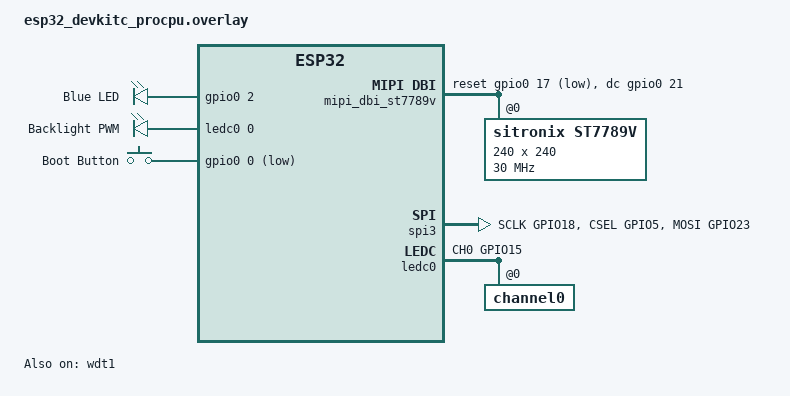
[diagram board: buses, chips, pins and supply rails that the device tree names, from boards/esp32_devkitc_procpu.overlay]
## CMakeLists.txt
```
# SPDX-License-Identifier: Apache-2.0

cmake_minimum_required(VERSION 3.20.0)

find_package(Zephyr REQUIRED HINTS $ENV{ZEPHYR_BASE})
project(wake_on_lan)

FILE(GLOB app_sources src/*.c)
FILE(GLOB font_sources src/fonts/*.c)

target_sources(app PRIVATE ${app_sources} ${font_sources})

zephyr_include_directories(inc)
zephyr_include_directories(src/fonts)
```

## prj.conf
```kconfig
# ── Kernel ──────────────────────────────────────────────────────────────────
CONFIG_MAIN_STACK_SIZE=6144
CONFIG_SYSTEM_WORKQUEUE_STACK_SIZE=4096

# ── GPIO / SPI ───────────────────────────────────────────────────────────────
CONFIG_GPIO=y
CONFIG_SPI=y

# ── Display (ST7789V via MIPI-DBI SPI wrapper) ───────────────────────────────
CONFIG_DISPLAY=y
CONFIG_DISPLAY_LOG_LEVEL_ERR=y

# ── LVGL ─────────────────────────────────────────────────────────────────────
CONFIG_LVGL=y
CONFIG_LV_COLOR_16_SWAP=y
#CONFIG_LV_COLOR_DEPTH_16=y
CONFIG_LV_Z_MEM_POOL_SIZE=24576

# Custom font C files in src/fonts/ (lv_font_wol_14 / lv_font_wol_24)
# cover ASCII 0x20-0x7E, U+2022 •, U+26A1 ⚡, braille U+280B..U+28A7.
#
# IMPORTANT: Zephyr LVGL requires a built-in font as LV_FONT_DEFAULT.
# Without it, lv_font_default__ = NULL → all labels show squares.
# We enable Montserrat 14 as the system default; our custom fonts
# are applied explicitly via lv_obj_set_style_text_font() per widget.
CONFIG_LV_FONT_MONTSERRAT_14=y
CONFIG_LV_FONT_MONTSERRAT_24=y
CONFIG_LV_FONT_DEFAULT_MONTSERRAT_14=y

# LVGL display buffer — 10% of screen (240×240×2 = 115200 B full frame).
# Keeping it small (≈11520 B) avoids dram0.noinit overflow.
# Core 1 calls lv_task_handler() at 40 FPS so partial refresh is fine.
CONFIG_LV_Z_VDB_SIZE=10
CONFIG_LV_Z_DOUBLE_VDB=n

# UTF-8 support — required for braille
CONFIG_LV_TXT_ENC_UTF8=y
CONFIG_COMPILER_OPT="-finput-charset=UTF-8"



# ── Logging ──────────────────────────────────────────────────────────────────
CONFIG_LOG=y
CONFIG_LOG_DEFAULT_LEVEL=3

# ── Networking (Wi-Fi) ───────────────────────────────────────────────────────
CONFIG_NETWORKING=y
CONFIG_NET_IPV4=y
CONFIG_NET_UDP=y
CONFIG_NET_SOCKETS=y
CONFIG_POSIX_API=y
CONFIG_WIFI=y
CONFIG_WIFI_ESP32=y
CONFIG_NET_DHCPV4=y
CONFIG_NET_MGMT=y
CONFIG_NET_MGMT_EVENT=y

# ── NVS Storage ──────────────────────────────────────────────────────────────
CONFIG_FLASH=y
CONFIG_FLASH_MAP=y
CONFIG_FLASH_PAGE_LAYOUT=y
CONFIG_NVS=y
CONFIG_MPU_ALLOW_FLASH_WRITE=y

# ── DNS / HTTP (captive portal) ──────────────────────────────────────────────
CONFIG_DNS_RESOLVER=y
CONFIG_NET_TCP=y
CONFIG_NET_HOSTNAME_ENABLE=y
CONFIG_NET_HOSTNAME="WOL_ESP"

# ── Heap / Memory ────────────────────────────────────────────────────────────
CONFIG_HEAP_MEM_POOL_SIZE=49152

# ── Reboot ───────────────────────────────────────────────────────────────────
CONFIG_REBOOT=y

# ── Watchdog ─────────────────────────────────────────────────────────────────
CONFIG_WATCHDOG=y

# ── Stack overflow detection ──────────────────────────────────────────────────
CONFIG_THREAD_STACK_INFO=y
CONFIG_THREAD_NAME=y
CONFIG_STACK_SENTINEL=y

CONFIG_PWM=y
```

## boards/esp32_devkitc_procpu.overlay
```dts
#include <zephyr/dt-bindings/i2c/i2c.h>
#include <zephyr/dt-bindings/input/input-event-codes.h>
#include <dt-bindings/pinctrl/esp32-pinctrl.h>

/ {
	aliases {
		sw0 = &user_button;
		led0 = &blue_led;
		bl-pwm = &bl_pwm_led;
	};

	chosen {
		zephyr,display = &st7789v;
		zephyr,flash-controller = &flash;
	};

	cpus {
		#address-cells = <1>;
		#size-cells = <0>;

		cpu0: cpu@0 {
			device_type = "cpu";
			compatible = "espressif,xtensa-lx6";
			reg = <0>;
			clock-frequency = <240000000>;
		};
	};

	clock: clock {
		compatible = "espressif,esp32-clock";
		status = "okay";
		#clock-cells = <1>;
		fast-clk-src = <1>;
		slow-clk-src = <0>;
	};

	leds {
		compatible = "gpio-leds";

		blue_led: led_0 {
			gpios = <&gpio0 2 GPIO_ACTIVE_HIGH>;
			label = "Blue LED";
		};
	};

	backlight_pwm {
		compatible = "pwm-leds";
		bl_pwm_led: bl_pwm_led {
			pwms = <&ledc0 0 5000 PWM_POLARITY_NORMAL>; // Canal 0, 5kHz (5000ns)
			label = "Backlight PWM";
		};
	};

	buttons {
		compatible = "gpio-keys";
		user_button: button_0 {
			gpios = <&gpio0 0 (GPIO_PULL_UP | GPIO_ACTIVE_LOW)>;
			label = "Boot Button";
		};
	};

	mipi_dbi_st7789v {
		compatible = "zephyr,mipi-dbi-spi";
		spi-dev = <&spi3>;
		dc-gpios = <&gpio0 21 GPIO_ACTIVE_HIGH>;
		reset-gpios = <&gpio0 17 GPIO_ACTIVE_LOW>;
		write-only;
		#address-cells = <1>;
		#size-cells = <0>;

		st7789v: st7789v@0 {
			compatible = "sitronix,st7789v";
			mipi-max-frequency = <30000000>;
			reg = <0>;
			width = <240>;
			height = <240>;
			x-offset = <0>;
			y-offset = <0>;

			vcom = <0x28>;
			gctrl = <0x35>;
			vrhs = <0x10>;
			vdvs = <0x20>;
			mdac = <0x08>;
			gamma = <0x01>;
			colmod = <0x55>;
			//inversion-off;
			lcm = <0x0C>;
			ready-time-ms = <10>;

			porch-param = [0c 0c 00 33 33];
			cmd2en-param = [5a 69 02 01];
			pwctrl1-param = [a4 a1];
			pvgam-param = [d0 00 02 07 0a 28 32 44 42 06 0e 12 14 17];
			nvgam-param = [d0 00 02 07 0a 28 31 54 47 0e 1c 17 1b 1e];
			ram-param = [00 e0];
			rgb-param = [cd 08 14];

			mipi-mode = "MIPI_DBI_MODE_SPI_4WIRE";
		};
	};
};

&gpio0 { status = "okay"; };
&gpio1 { status = "okay"; };
&wdt1  { status = "okay"; };

&spi3 {
	status = "okay";
	pinctrl-0 = <&spim3_default>;
	pinctrl-names = "default";
};

&ledc0 {
	status = "okay";
	#pwm-cells = <3>;
	pinctrl-0 = <&ledc0_default>;
	pinctrl-names = "default";
	#address-cells = <1>;
	#size-cells = <0>;

	channel0@0 {
		reg = <0x0>;
		timer = <0>;
	};
};

&pinctrl {
	spim3_default: spim3_default {
		group1 {
			pinmux = <SPIM3_SCLK_GPIO18>,
				 <SPIM3_CSEL_GPIO5>;
		};
		group2 {
			pinmux = <SPIM3_MOSI_GPIO23>;
			output-low;
		};
	};
	ledc0_default: ledc0_default {
		group1 {
			pinmux = <LEDC_CH0_GPIO15>;
			output-enable;
		};
	};
};

&flash0 {
	partitions {
		compatible = "fixed-partitions";
		#address-cells = <1>;
		#size-cells = <1>;

		nvs_storage: partition@3f0000 {
			label = "nvs_storage";
			reg = <0x3f0000 0x00010000>;
		};
	};
};
```

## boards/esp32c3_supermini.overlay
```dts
#include <zephyr/dt-bindings/i2c/i2c.h>
#include <zephyr/dt-bindings/input/input-event-codes.h>
#include <dt-bindings/pinctrl/esp32-pinctrl.h>
#include <zephyr/dt-bindings/pwm/pwm.h>

/ {
	aliases {
		sw0 = &user_button;
		led0 = &blue_led;
		bl-pwm = &bl_pwm_led;
	};

	chosen {
		zephyr,display = &st7789v;
		zephyr,flash-controller = &flash;
		zephyr,sram = &sram0;
		zephyr,flash = &flash0;
	};

	cpus {
		#address-cells = <1>;
		#size-cells = <0>;

		cpu0: cpu@0 {
			device_type = "cpu";
			compatible = "espressif,riscv";
			reg = <0>;
			clock-frequency = <160000000>;
		};
	};

	leds {
		compatible = "gpio-leds";
		blue_led: led_0 {
			gpios = <&gpio0 8 GPIO_ACTIVE_LOW>;
			label = "Blue LED";
		};
	};

	backlight_pwm {
		compatible = "pwm-leds";
		bl_pwm_led: bl_pwm_led {
			pwms = <&ledc0 2 PWM_HZ(5000) PWM_POLARITY_NORMAL>;
			label = "Backlight PWM";
		};
	};

	buttons {
		compatible = "gpio-keys";
		user_button: button_0 {
			gpios = <&gpio0 9 (GPIO_PULL_UP | GPIO_ACTIVE_LOW)>;
			label = "Boot Button";
		};
	};

	mipi_dbi_st7789v {
		compatible = "zephyr,mipi-dbi-spi";
		spi-dev = <&spi2>;
		dc-gpios = <&gpio0 7 GPIO_ACTIVE_HIGH>;
		reset-gpios = <&gpio0 10 GPIO_ACTIVE_LOW>;
		write-only;
		#address-cells = <1>;
		#size-cells = <0>;

		st7789v: st7789v@0 {
			compatible = "sitronix,st7789v";
			mipi-max-frequency = <35000000>;
			reg = <0>;
			width = <240>;
			height = <240>;
			x-offset = <0>;
			y-offset = <0>;
			vcom = <0x28>;
			gctrl = <0x35>;
			vrhs = <0x10>;
			vdvs = <0x20>;
			mdac = <0x08>;
			gamma = <0x01>;
			colmod = <0x05>;
			lcm = <0x0C>;
			ready-time-ms = <10>;
			porch-param = [0c 0c 00 33 33];
			cmd2en-param = [5a 69 02 01];
			pwctrl1-param = [a4 a1];
			pvgam-param = [d0 00 02 07 0a 28 32 44 42 06 0e 12 14 17];
			nvgam-param = [d0 00 02 07 0a 28 31 54 47 0e 1c 17 1b 1e];
			ram-param = [00 e0];
			rgb-param = [cd 08 14];
			mipi-mode = "MIPI_DBI_MODE_SPI_4WIRE";
		};
	};
};

&gpio0 { status = "okay"; };

&wdt1 { status = "okay"; };

&systimer0 { status = "okay"; };

&spi2 {
	status = "okay";
	pinctrl-0 = <&spim2_default>;
	pinctrl-names = "default";
};

&ledc0 {
	status = "okay";
	#pwm-cells = <3>;
	pinctrl-0 = <&ledc0_default>;
	pinctrl-names = "default";
};

&pinctrl {
	spim2_default: spim2_default {
		group1 {
			pinmux = <SPIM2_SCLK_GPIO4>,
				 <SPIM2_CSEL_GPIO5>;
		};
		group2 {
			pinmux = <SPIM2_MOSI_GPIO6>;
			output-low;
		};
	};

	ledc0_default: ledc0_default {
		group1 {
			pinmux = <LEDC_CH0_GPIO2>;
			output-enable;
		};
	};
};

&flash0 {
	partitions {
		compatible = "fixed-partitions";
		#address-cells = <1>;
		#size-cells = <1>;

		nvs_storage: partition@3f0000 {
			label = "nvs_storage";
			reg = <0x3f0000 0x00010000>;
		};
	};
};
```

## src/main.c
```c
/* SPDX-License-Identifier: Apache-2.0
 *
 * Wake On LAN — ESP32 DevKitC
 *
 * main() sequence:
 *   1. watchdog_init()
 *   2. notify_init() / button_init() / storage_init()
 *   3. Read NVS, set SHARED->ap_mode
 *   4. wifi_init_and_connect() or start_portal() — runs forever
 *
 * Display thread is started automatically via K_THREAD_DEFINE in display.c.
 */

#include <zephyr/kernel.h>
#include <zephyr/device.h>
#include <zephyr/drivers/watchdog.h>
#include <zephyr/sys/reboot.h>
#include <zephyr/logging/log.h>
#include <zephyr/net/net_ip.h>
#include <string.h>

#include "shared.h"
#include "display.h"
#include "storage.h"
#include "wifi.h"
#include "button.h"
#include "notify.h"
#include "portal.h"

LOG_MODULE_REGISTER(main, CONFIG_LOG_DEFAULT_LEVEL);

/* ── Global shared state ─────────────────────────────────────────────────── */

shared_t g_shared;

/* ── Watchdog ────────────────────────────────────────────────────────────── */

#define WDT_TIMEOUT_MS 8000

static const struct device *wdt_dev = DEVICE_DT_GET(DT_NODELABEL(wdt1));
static int wdt_channel_id;

static void wdt_feed_thread(void *p1, void *p2, void *p3)
{
    ARG_UNUSED(p1); ARG_UNUSED(p2); ARG_UNUSED(p3);
    while (1) {
        wdt_feed(wdt_dev, wdt_channel_id);
        k_msleep(WDT_TIMEOUT_MS / 2);
    }
}
K_THREAD_DEFINE(wdt_tid, 512, wdt_feed_thread, NULL, NULL, NULL, 14, 0, 0);

static void watchdog_init(void)
{
    if (!device_is_ready(wdt_dev)) {
        LOG_ERR("WDT not ready");
        return;
    }
    struct wdt_timeout_cfg cfg = { .window = { .min = 0, .max = WDT_TIMEOUT_MS }, .callback = NULL, .flags = WDT_FLAG_RESET_SOC };
    wdt_channel_id = wdt_install_timeout(wdt_dev, &cfg);
    if (wdt_channel_id < 0) {
        LOG_ERR("WDT install: %d", wdt_channel_id);
        return;
    }
    if (wdt_setup(wdt_dev, WDT_OPT_PAUSE_HALTED_BY_DBG) < 0) {
        LOG_ERR("WDT setup failed");
        return;
    }
    LOG_INF("WDT armed %d ms", WDT_TIMEOUT_MS);
}

/* ── main ────────────────────────────────────────────────────────────────── */

int main(void)
{
    printk("\n=== Wake On LAN — ESP32 ===\n");

    memset(&g_shared, 0, sizeof(g_shared));

    watchdog_init();
    notify_init();
    button_init();
    storage_init();

    char ssid[32] = {0};
    char pass[64] = {0};
    char mac[18]  = {0};
    char pc_ip[INET_ADDRSTRLEN] = {0};

    bool has_creds = (storage_read_config(ssid, pass, mac, pc_ip) == 0);
    SHARED->ap_mode = !has_creds;

    if (has_creds) {
        LOG_INF("Connecting to: %s", ssid);
        wifi_init_and_connect(ssid, pass, mac, pc_ip);
    } else {
        LOG_INF("No credentials — starting captive portal");
        start_portal();
    }

    while (1) {
        k_sleep(K_FOREVER);
    }
    return 0;
}
```

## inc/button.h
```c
#ifndef BUTTON_H
#define BUTTON_H

#include <zephyr/kernel.h>
#include <zephyr/device.h>
#include <zephyr/drivers/gpio.h>
#include <stdio.h>
#include <stdbool.h>

/**
 * @brief Initializes the BOOT button GPIO and its interrupts.
 */
void button_init(void);

/**
 * @brief Checks if the BOOT button is currently pressed.
 *
 * @return true if the button is pressed, false otherwise.
 */
bool button_is_pressed(void);

#endif /* BUTTON_H */
```

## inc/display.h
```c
#ifndef DISPLAY_H
#define DISPLAY_H

#include <stdint.h>

/* Set backlight brightness 0-100% via LEDC PWM (GPIO15). */
void set_backlight_brightness(uint8_t percent);

#endif /* DISPLAY_H */
```

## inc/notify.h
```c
#ifndef NOTIFY_H
#define NOTIFY_H

#include <zephyr/kernel.h>
#include <zephyr/drivers/gpio.h>

/* Notification types */
typedef enum {
    NOTIFY_WOL_SENT,   /* 2 Blinks (500ms ON) */
    NOTIFY_PING_UPDATE /* 1 Blink  (500ms ON) */
} notify_type_t;

/**
 * @brief Initialize GPIO for the Blue LED and Display synchronization.
 */
void notify_init(void);

/* @brief Notify the user of an event by blinking the blue LED.
 *        The pattern is determined by the type of event:
 *        - NOTIFY_WOL_SENT: 2 blinks (500ms ON, 200ms OFF)
 *        - NOTIFY_PING_UPDATE: 1 blink (500ms ON)
 */
void notify_event(notify_type_t type);

#endif /* NOTIFY_H */
```

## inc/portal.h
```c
#ifndef PORTAL_H
#define PORTAL_H

#include <zephyr/kernel.h>
#include <zephyr/net/socket.h>
#include <zephyr/net/wifi_mgmt.h>
#include <zephyr/net/net_if.h>
#include <zephyr/net/net_mgmt.h>
#include <zephyr/net/net_ip.h>
#include <zephyr/sys/reboot.h>
#include <stdlib.h>
#include <string.h>
#include <ctype.h>

/**
 * @brief Starts the Captive Portal.
 * * This function performs the following steps:
 * 1. Enables WiFi Access Point mode (SSID: WOL_ESP).
 * 2. Sets a static IP (192.168.4.1).
 * 3. Starts the DNS redirector task to intercept all requests.
 * 4. Starts the HTTP server to serve the configuration form.
 */
void start_portal(void);

/**
 * @brief Stops the Captive Portal and disables AP mode.
 * * This function performs the following steps:
 * 1. Disables WiFi Access Point mode.
 * 2. Resets the network interface to default state.
 */
void stop_portal(void);

#endif /* PORTAL_H */
```

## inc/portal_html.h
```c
#ifndef PORTAL_HTML_H
#define PORTAL_HTML_H

static const char html_p1[] =
    "<!DOCTYPE html><html><head><meta charset='UTF-8'>"
    "<meta name='viewport' content='width=device-width,initial-scale=1'>"
    "<title>WOL Setup</title><style>"
    "body{margin:0;min-height:100vh;display:flex;align-items:center;"
    "justify-content:center;background:#0f0f0f;font-family:monospace;color:#e0e0e0}"
    ".box{background:#1a1a1a;border:1px solid #333;border-radius:12px;padding:32px;width:280px}"
    "h2{margin:0 0 24px;font-size:18px;color:#00e5ff;letter-spacing:2px;text-align:center}";

static const char html_p2[] =
    "label{font-size:11px;color:#888;letter-spacing:1px;display:block;margin-bottom:4px}"
    "input[type=text],input[type=password]{width:100%;box-sizing:border-box;"
    "background:#111;border:1px solid #333;border-radius:6px;padding:10px;"
    "color:#fff;font-family:monospace;font-size:13px;margin-bottom:4px;outline:none}"
    "input:focus{border-color:#00e5ff}"
    ".pw-wrap{position:relative;margin-bottom:16px}"
    ".pw-wrap input{margin-bottom:0;padding-right:40px}"
    ".eye{position:absolute;right:10px;top:50%;transform:translateY(-50%);"
    "cursor:pointer;color:#888;font-size:15px;user-select:none}"
    ".eye:hover{color:#00e5ff}";

static const char html_p3[] =
    ".err{background:#2a0a0a;border:1px solid #ff3333;border-radius:6px;"
    "padding:10px;margin-bottom:16px;font-size:11px;color:#ff6666;text-align:center}"
    "input[type=submit]{width:100%;background:#00e5ff;color:#000;border:none;"
    "border-radius:6px;padding:12px;font-family:monospace;font-size:13px;"
    "font-weight:bold;letter-spacing:2px;cursor:pointer;margin-top:8px}"
    "input[type=submit]:hover{background:#fff}"
    "</style></head><body><div class='box'>"
    "<h2><svg width='18' height='18' viewBox='0 0 24 24' fill='#00e5ff' "
    "style='vertical-align:middle;margin-right:6px'>"
    "<path d='M1 9l2 2c5-5 13-5 18 0l2-2C16.93 2.93 7.08 2.93 1 9zm8 "
    "8l3 3 3-3c-1.65-1.66-4.34-1.66-6 0zm-4-4l2 2c2.76-2.76 7.24-2.76 "
    "10 0l2-2C15.14 9.14 8.87 9.14 5 13z'/></svg>WOL CONFIG</h2>";

static const char html_p4[] =
    "<form action='/save' method='POST'>"
    "<label>SSID</label>"
    "<input type='text' name='s' autocomplete='off'>"
    "<label>PASSWORD</label>"
    "<div class='pw-wrap'>"
    "<input type='password' name='p' id='pw'>"
    "<span class='eye' onclick=\"var i=document.getElementById('pw');"
    "i.type=i.type=='password'?'text':'password';"
    "this.textContent=i.type=='password'?'&#128065;':'&#128064;';"
    "\">&#128065;</span></div>"
    "<label>PC IP</label>"
    "<input type='text' name='i' placeholder='192.168.1.100'>"
    "<label>TARGET MAC</label>"
    "<input type='text' name='m' placeholder='AA:BB:CC:DD:EE:FF' "
    "pattern='[0-9A-Fa-f]{2}:[0-9A-Fa-f]{2}:[0-9A-Fa-f]{2}:"
    "[0-9A-Fa-f]{2}:[0-9A-Fa-f]{2}:[0-9A-Fa-f]{2}'>";

static const char html_err[] =
    "<div class='err'>&#9888; All fields are required!<br>"
    "IP: 192.168.x.x | MAC: AA:BB:CC:DD:EE:FF</div>";

static const char html_tail[] =
    "<input type='submit' value='SAVE'>"
    "</form></div></body></html>";

static const char html_ok[] =
    "HTTP/1.1 200 OK\r\nContent-Type: text/html\r\n"
    "Connection: close\r\n\r\n"
    "<!DOCTYPE html><html><head><meta charset='UTF-8'>"
    "<meta name='viewport' content='width=device-width,initial-scale=1'>"
    "<style>"
    "body{margin:0;min-height:100vh;display:flex;align-items:center;"
    "justify-content:center;background:#0f0f0f;font-family:monospace;color:#e0e0e0}"
    ".box{background:#1a1a1a;border:1px solid #333;border-radius:12px;"
    "padding:32px;width:280px;text-align:center}"
    "h2{color:#00e5ff;letter-spacing:2px;font-size:16px}"
    "p{color:#888;font-size:12px}"
    "</style></head>"
    "<body><div class='box'>"
    "<h2>&#10003; SAVED!</h2>"
    "<p>Rebooting...</p>"
    "</div></body></html>";

#endif /* PORTAL_HTML_H */
```

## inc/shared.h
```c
#ifndef SHARED_H
#define SHARED_H

#include <stdint.h>
#include <stdbool.h>

/*
 * Inter-task shared state — single-core Zephyr version.
 * Written by Wi-Fi/portal task, read by display thread.
 * volatile prevents compiler caching; shared_sync() is a compiler barrier.
 */

typedef struct {
    volatile char  my_ip[16];
    volatile char  target_ip[16];
    volatile bool  has_ip;
    volatile bool  last_known_state;
    volatile bool  ap_mode;
    volatile bool  wol_sent;
    volatile bool  factory_reset;
} shared_t;

extern shared_t g_shared;
#define SHARED (&g_shared)

static inline void shared_sync(void)
{
    __asm__ volatile("" ::: "memory");
}

#endif /* SHARED_H */
```

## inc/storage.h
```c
#ifndef STORAGE_H
#define STORAGE_H

#include <zephyr/kernel.h>
#include <zephyr/device.h>
#include <zephyr/drivers/flash.h>
#include <zephyr/fs/nvs.h>
#include <zephyr/net/net_ip.h>
#include <string.h>
#include <zephyr/types.h>

/* Unique IDs for each entry in the NVS file system.
 * These IDs are used as "keys" to access data in Flash.
 */
#define STORAGE_ID_SSID     1
#define STORAGE_ID_PASS     2
#define STORAGE_ID_MAC      3
#define STORAGE_ID_IP       4
 
/**
 * @brief Initializes the NVS storage subsystem.
 * Locates the partition defined in the devicetree and mounts the file system.
 */
void storage_init(void);
 
/**
 * @brief Saves the Wi-Fi settings and target PC MAC address to Flash.
 *
 * @param s Wi-Fi network name (SSID).
 * @param p Network password.
 * @param m Target PC MAC address (string format "AA:BB:CC:DD:EE:FF").
 * @return 0 on success, or negative error code.
 */
int storage_write_config(const char *s, const char *p, const char *m, const char *ip);
 
/**
 * @brief Reads the saved settings from Flash.
 *
 * @param s Buffer to store the SSID (min. 32 bytes).
 * @param p Buffer to store the Password (min. 64 bytes).
 * @param m Buffer to store the MAC (min. 18 bytes).
 * @return 0 if data was read successfully, -1 if Flash is empty.
 */
int storage_read_config(char *s, char *p, char *m, char *ip);
 
/**
 * @brief Erases all settings from Flash (Factory Reset).
 * Removes the SSID, Password and MAC, forcing the device into Portal mode.
 */
void storage_clear_all(void);
 
#endif /* STORAGE_H */
```

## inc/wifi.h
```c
#ifndef WIFI_H
#define WIFI_H

#include <zephyr/kernel.h>
#include <zephyr/net/net_if.h>
#include <zephyr/net/net_mgmt.h>
#include <zephyr/net/wifi_mgmt.h>
#include <zephyr/net/net_event.h>
#include <zephyr/net/socket.h>
#include <zephyr/net/icmp.h>
#include <zephyr/net/net_ip.h>
#include <zephyr/net/dhcpv4.h>
#include <stdio.h>
#include <string.h>
#include <errno.h>
#include <stdbool.h>

/**
 * @brief Initialise Wi-Fi and connect to the saved network.
 * Also writes target_ip into the shared struct so core 1 can display it.
 */
void wifi_init_and_connect(const char *ssid, const char *pass,
                           const char *mac, const char *pc_ip);

/**
 * @brief Submit a Wake-on-LAN magic packet to the system workqueue.
 * Called by button.c on BOOT button press.
 */
void trigger_wol(void);

#endif /* WIFI_H */
```

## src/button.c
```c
/*
 * button.c — BOOT button handler
 *
 * Short press (< 1 s)            -> send WoL packet
 * Long press  (>= 1 s, !has_ip) -> factory reset
 */

#include "button.h"
#include "wifi.h"
#include "storage.h"
#include "shared.h"
#include <zephyr/sys/reboot.h>
#include <zephyr/logging/log.h>

LOG_MODULE_REGISTER(button, CONFIG_LOG_DEFAULT_LEVEL);

static const struct gpio_dt_spec btn = GPIO_DT_SPEC_GET(DT_ALIAS(sw0), gpios);
static struct gpio_callback btn_cb_data;

#define LONG_PRESS_MS 1000U
#define POLL_MS         20U
#define BTN_STACK_SIZE 2048
#define BTN_PRIORITY      5

static K_THREAD_STACK_DEFINE(btn_stack, BTN_STACK_SIZE);
static struct k_thread btn_thread_data;
static K_SEM_DEFINE(btn_sem, 0, 1);
static int64_t press_start_ms;

static void button_thread(void *p1, void *p2, void *p3)
{
    ARG_UNUSED(p1); ARG_UNUSED(p2); ARG_UNUSED(p3);
    while (1) {
        k_sem_take(&btn_sem, K_FOREVER);
        while (gpio_pin_get_dt(&btn) == 1) {
            k_msleep(POLL_MS);
        }
        int64_t held_ms = k_uptime_get() - press_start_ms;
        if (held_ms >= LONG_PRESS_MS) {
            if (!SHARED->has_ip) {
                LOG_WRN("Factory reset (held %lld ms)", held_ms);
                SHARED->factory_reset = true;
                shared_sync();
                k_msleep(2000);
                storage_clear_all();
                LOG_WRN("NVS cleared — rebooting");
                sys_reboot(SYS_REBOOT_COLD);
            } else {
                LOG_INF("Long press ignored — already connected");
            }
        } else {
            LOG_INF("Short press -> WoL");
            trigger_wol();
        }
    }
}

static void button_isr(const struct device *dev, struct gpio_callback *cb, uint32_t pins)
{
    ARG_UNUSED(dev); ARG_UNUSED(cb); ARG_UNUSED(pins);
    press_start_ms = k_uptime_get();
    k_sem_give(&btn_sem);
}

void button_init(void)
{
    if (!gpio_is_ready_dt(&btn)) {
        LOG_ERR("BOOT button GPIO not ready");
        return;
    }
    gpio_pin_configure_dt(&btn, GPIO_INPUT);
    gpio_pin_interrupt_configure_dt(&btn, GPIO_INT_EDGE_TO_ACTIVE);
    gpio_init_callback(&btn_cb_data, button_isr, BIT(btn.pin));
    gpio_add_callback(btn.port, &btn_cb_data);
    k_thread_create(&btn_thread_data, btn_stack, K_THREAD_STACK_SIZEOF(btn_stack), button_thread, NULL, NULL, NULL, BTN_PRIORITY, 0, K_NO_WAIT);
    k_thread_name_set(&btn_thread_data, "button");
    LOG_INF("Button init OK (long-press=%d ms -> factory reset)", LONG_PRESS_MS);
}

bool button_is_pressed(void)
{
    return (gpio_pin_get_dt(&btn) == 1);
}
```

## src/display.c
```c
/*
 * display.c — LVGL display thread (Zephyr, single-core)
 *
 * Runs as a normal Zephyr thread (priority 7, K_THREAD_DEFINE).
 * Communicates with Wi-Fi/main via the global g_shared struct.
 *
 * GUI layout (240x240 ST7789, dark theme):
 *
 *   header  y=4   h=44   WAKE ON LAN | spinner
 *   ip      y=54  h=56   MY IP       | value
 *   target  y=118 h=56   IP TARGET   | state
 *   event   y=182 h=44   WoL / factory reset bar
 */

#include <zephyr/kernel.h>
#include <zephyr/device.h>
#include <zephyr/drivers/display.h>
#include <zephyr/drivers/pwm.h>
#include <zephyr/logging/log.h>
#include <lvgl.h>
#include <string.h>

#include "shared.h"
#include "display.h"

LOG_MODULE_REGISTER(display, CONFIG_LOG_DEFAULT_LEVEL);

/* ── Backlight PWM (ledc0 ch0, GPIO15, 5 kHz) ───────────────────────────── */

#define BACKLIGHT_BRIGHTNESS 20

static const struct pwm_dt_spec backlight = PWM_DT_SPEC_GET(DT_ALIAS(bl_pwm));

void set_backlight_brightness(uint8_t percent)
{
    if (!device_is_ready(backlight.dev)) {
        return;
    }
    if (percent > 100) {
        percent = 100;
    }
    uint32_t pulse = (backlight.period * percent) / 100U;
    pwm_set_dt(&backlight, backlight.period, pulse);
}

/* ── Palette ─────────────────────────────────────────────────────────────── */

#define C_BG        0x000000
#define C_CARD      0x0A0C14
#define C_CARD_LIT  0x141824
#define C_BORDER    0x1E2433
#define C_ACCENT    0x00B0FF
#define C_GREEN     0x00C853
#define C_RED       0xFF1744
#define C_GOLD      0xFFAB00
#define C_WHITE     0xF5F5F7
#define C_MUTED     0x4A5568

static const char * const DOTS[] = { ".", "..", "..." };
#define DOTS_N 3

/* ── Widget handles ──────────────────────────────────────────────────────── */

typedef struct {
    lv_obj_t *hdr_subtitle;
    lv_obj_t *hdr_spin;
    lv_obj_t *lbl_ip_val;
    lv_obj_t *lbl_tgt_ip;
    lv_obj_t *lbl_tgt_state;
    lv_obj_t *wol_bar;
    lv_obj_t *lbl_wol;
} ui_t;

/* ── UI helpers ──────────────────────────────────────────────────────────── */

static lv_obj_t *make_card(lv_obj_t *p, int x, int y, int w, int h, bool lit)
{
    lv_obj_t *c = lv_obj_create(p);
    lv_obj_set_pos(c, x, y);
    lv_obj_set_size(c, w, h);
    lv_obj_set_scrollbar_mode(c, LV_SCROLLBAR_MODE_OFF);
    lv_obj_set_style_bg_color(c, lv_color_hex(lit ? C_CARD_LIT : C_CARD), 0);
    lv_obj_set_style_bg_opa(c, LV_OPA_COVER, 0);
    lv_obj_set_style_border_color(c, lv_color_hex(C_BORDER), 0);
    lv_obj_set_style_border_width(c, 1, 0);
    lv_obj_set_style_radius(c, 10, 0);
    lv_obj_set_style_clip_corner(c, true, 0);
    lv_obj_set_style_pad_all(c, 0, 0);
    return c;
}

static lv_obj_t *make_label(lv_obj_t *p, const lv_font_t *f, uint32_t col, int align, int ox, int oy, const char *txt)
{
    lv_obj_t *l = lv_label_create(p);
    lv_obj_set_style_text_font(l, f, 0);
    lv_obj_set_style_text_color(l, lv_color_hex(col), 0);
    lv_obj_align(l, align, ox, oy);
    lv_label_set_text(l, txt);
    return l;
}

static void make_accent_strip(lv_obj_t *card, int h)
{
    lv_obj_t *s = lv_obj_create(card);
    lv_obj_set_pos(s, 0, 0);
    lv_obj_set_size(s, 4, h);
    lv_obj_set_style_bg_color(s, lv_color_hex(C_ACCENT), 0);
    lv_obj_set_style_bg_opa(s, LV_OPA_COVER, 0);
    lv_obj_set_style_border_width(s, 0, 0);
    lv_obj_set_style_radius(s, 0, 0);
}

/* ── AP screen ───────────────────────────────────────────────────────────── */

static void build_ap_screen(void)
{
    lv_obj_t *scr = lv_scr_act();
    lv_obj_set_style_bg_color(scr, lv_color_hex(C_BG), 0);
    lv_obj_t *hdr = make_card(scr, 4, 4, 232, 44, true);
    make_accent_strip(hdr, 44);
    make_label(hdr, &lv_font_montserrat_14, C_ACCENT, LV_ALIGN_LEFT_MID, 14, -8, "ACCESS POINT");
    make_label(hdr, &lv_font_montserrat_14, C_WHITE, LV_ALIGN_LEFT_MID, 14, 8, "Setup Mode");
    lv_obj_t *ssid = make_card(scr, 4, 54, 232, 56, false);
    make_label(ssid, &lv_font_montserrat_14, C_MUTED, LV_ALIGN_LEFT_MID, 12, -11, "SSID");
    make_label(ssid, &lv_font_montserrat_24, C_WHITE, LV_ALIGN_LEFT_MID, 12, 9, "WOL_ESP");
    lv_obj_t *ipc = make_card(scr, 4, 116, 232, 56, false);
    make_label(ipc, &lv_font_montserrat_14, C_MUTED, LV_ALIGN_LEFT_MID, 12, -11, "PORTAL");
    make_label(ipc, &lv_font_montserrat_24, C_ACCENT, LV_ALIGN_LEFT_MID, 12, 9, "192.168.4.1");
}

/* ── Station screen ──────────────────────────────────────────────────────── */

static void build_station_screen(ui_t *ui)
{
    lv_obj_t *scr = lv_scr_act();
    lv_obj_set_style_bg_color(scr, lv_color_hex(C_BG), 0);
    lv_obj_t *hdr = make_card(scr, 4, 4, 232, 44, true);
    make_accent_strip(hdr, 44);
    make_label(hdr, &lv_font_montserrat_14, C_ACCENT, LV_ALIGN_LEFT_MID, 14, -8, "WAKE ON LAN");
    ui->hdr_subtitle = make_label(hdr, &lv_font_montserrat_14, C_MUTED, LV_ALIGN_LEFT_MID, 14, 8, "Connecting");
    ui->hdr_spin = make_label(hdr, &lv_font_montserrat_14, C_ACCENT, LV_ALIGN_RIGHT_MID, -15, 0, LV_SYMBOL_REFRESH);
    lv_obj_set_style_transform_pivot_x(ui->hdr_spin, 8, 0);
    lv_obj_set_style_transform_pivot_y(ui->hdr_spin, 8, 0);
    lv_obj_t *ipc = make_card(scr, 4, 54, 232, 56, false);
    make_label(ipc, &lv_font_montserrat_14, C_MUTED, LV_ALIGN_LEFT_MID, 12, -11, "MY IP");
    ui->lbl_ip_val = make_label(ipc, &lv_font_montserrat_24, C_WHITE, LV_ALIGN_LEFT_MID, 12, 9, "");
    lv_obj_t *tgt = make_card(scr, 4, 118, 232, 56, false);
    make_label(tgt, &lv_font_montserrat_14, C_MUTED, LV_ALIGN_LEFT_MID, 12, -11, "IP TARGET");
    ui->lbl_tgt_ip = make_label(tgt, &lv_font_montserrat_24, C_WHITE, LV_ALIGN_LEFT_MID, 12, 9, "");
    ui->lbl_tgt_state = make_label(tgt, &lv_font_montserrat_14, C_MUTED, LV_ALIGN_RIGHT_MID, -12, 9, "");
    ui->wol_bar = make_card(scr, 4, 182, 232, 44, false);
    lv_obj_set_style_bg_opa(ui->wol_bar, LV_OPA_0, 0);
    lv_obj_set_style_border_opa(ui->wol_bar, LV_OPA_0, 0);
    ui->lbl_wol = make_label(ui->wol_bar, &lv_font_montserrat_24, C_GOLD, LV_ALIGN_CENTER, 0, 0, "");
}

/* ── Display thread ──────────────────────────────────────────────────────── */

static void display_thread(void *p1, void *p2, void *p3)
{
    ARG_UNUSED(p1); ARG_UNUSED(p2); ARG_UNUSED(p3);

    const struct device *disp = DEVICE_DT_GET(DT_CHOSEN(zephyr_display));
    if (!device_is_ready(disp)) {
        LOG_ERR("Display not ready");
        return;
    }

    if (!device_is_ready(backlight.dev)) {
        LOG_ERR("PWM backlight not ready");
    } else {
        set_backlight_brightness(BACKLIGHT_BRIGHTNESS);
    }

    display_blanking_off(disp);
    lv_init();

    lv_obj_t *scr = lv_scr_act();
    lv_obj_set_style_bg_color(scr, lv_color_hex(C_BG), 0);
    lv_obj_set_style_bg_opa(scr, LV_OPA_COVER, 0);
    make_label(scr, &lv_font_montserrat_24, C_ACCENT, LV_ALIGN_CENTER, 0, -15, "Zephyr RTOS");
    make_label(scr, &lv_font_montserrat_14, C_MUTED, LV_ALIGN_CENTER, 0, 15, "WOL by Sergio.I");
    lv_task_handler();
    k_msleep(3000);
    lv_obj_clean(scr);

    if (SHARED->ap_mode) {
        build_ap_screen();
        while (1) {
            lv_task_handler();
            k_msleep(50);
        }
    }

    static ui_t ui;
    build_station_screen(&ui);

    uint16_t angle       = 0;
    int64_t  event_hide  = 0;

    while (1) {
        int64_t now = k_uptime_get();

        angle = (angle + 120) % 3600;
        lv_obj_set_style_transform_angle(ui.hdr_spin, angle, 0);

        if (SHARED->wol_sent || SHARED->factory_reset) {
            bool is_reset = SHARED->factory_reset;
            SHARED->wol_sent      = false;
            SHARED->factory_reset = false;
            lv_obj_set_style_bg_color(ui.wol_bar, lv_color_hex(C_CARD_LIT), 0);
            lv_obj_set_style_bg_opa(ui.wol_bar, LV_OPA_COVER, 0);
            lv_obj_set_style_border_opa(ui.wol_bar, LV_OPA_COVER, 0);
            if (is_reset) {
                lv_obj_set_style_border_color(ui.wol_bar, lv_color_hex(C_RED), 0);
                lv_obj_set_style_text_color(ui.lbl_wol, lv_color_hex(C_RED), 0);
                lv_label_set_text(ui.lbl_wol, LV_SYMBOL_TRASH " Factory Reset");
            } else {
                lv_obj_set_style_border_color(ui.wol_bar, lv_color_hex(C_GOLD), 0);
                lv_obj_set_style_text_color(ui.lbl_wol, lv_color_hex(C_GOLD), 0);
                lv_label_set_text(ui.lbl_wol, LV_SYMBOL_CHARGE " WoL Sent!");
            }
            event_hide = now + 2000;
        } else if (event_hide && now >= event_hide) {
            lv_obj_set_style_bg_opa(ui.wol_bar, LV_OPA_0, 0);
            lv_obj_set_style_border_opa(ui.wol_bar, LV_OPA_0, 0);
            lv_label_set_text(ui.lbl_wol, "");
            event_hide = 0;
        }

        uint8_t dots_idx = (uint8_t)((now / 350) % DOTS_N);
        if (!SHARED->has_ip) {
            lv_label_set_text(ui.hdr_subtitle, "Connecting");
            lv_obj_set_style_text_color(ui.hdr_subtitle, lv_color_hex(C_MUTED), 0);
            lv_label_set_text(ui.lbl_ip_val, DOTS[dots_idx]);
            lv_label_set_text(ui.lbl_tgt_ip, DOTS[dots_idx]);
            lv_label_set_text(ui.lbl_tgt_state, "");
        } else {
            lv_label_set_text(ui.hdr_subtitle, "Connected");
            lv_obj_set_style_text_color(ui.hdr_subtitle, lv_color_hex(C_GREEN), 0);
            lv_label_set_text(ui.lbl_ip_val, (char *)SHARED->my_ip);
            lv_label_set_text(ui.lbl_tgt_ip, (char *)SHARED->target_ip);
            bool on = SHARED->last_known_state;
            lv_label_set_text(ui.lbl_tgt_state, on ? "ON" : "OFF");
            lv_obj_set_style_text_color(ui.lbl_tgt_state, lv_color_hex(on ? C_GREEN : C_RED), 0);
        }

        lv_task_handler();
        k_msleep(30);
    }
}

K_THREAD_DEFINE(display_id, 4096, display_thread, NULL, NULL, NULL, 7, 0, 0);
```

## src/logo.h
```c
#include <lvgl.h>

LV_IMG_DECLARE(szczys)
LV_IMG_DECLARE(zephyr)
```

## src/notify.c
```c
#include "notify.h"
#include "shared.h"

static const struct gpio_dt_spec blue_led = GPIO_DT_SPEC_GET(DT_NODELABEL(blue_led), gpios);

static K_SEM_DEFINE(sem_blink, 0, 1);
static int blink_count;

static void blink_thread(void *p1, void *p2, void *p3)
{
    ARG_UNUSED(p1); ARG_UNUSED(p2); ARG_UNUSED(p3);
    while (1) {
        k_sem_take(&sem_blink, K_FOREVER);
        for (int i = 0; i < blink_count; i++) {
            gpio_pin_set_dt(&blue_led, 1);
            k_msleep(500);
            gpio_pin_set_dt(&blue_led, 0);
            if (i < blink_count - 1) {
                k_msleep(200);
            }
        }
    }
}
K_THREAD_DEFINE(blink_tid, 512, blink_thread, NULL, NULL, NULL, 10, 0, 0);

void notify_init(void)
{
    if (!device_is_ready(blue_led.port)) {
        return;
    }
    gpio_pin_configure_dt(&blue_led, GPIO_OUTPUT_INACTIVE);
}

void notify_event(notify_type_t type)
{
    blink_count = (type == NOTIFY_WOL_SENT) ? 2 : 1;
    k_sem_give(&sem_blink);
}
```
